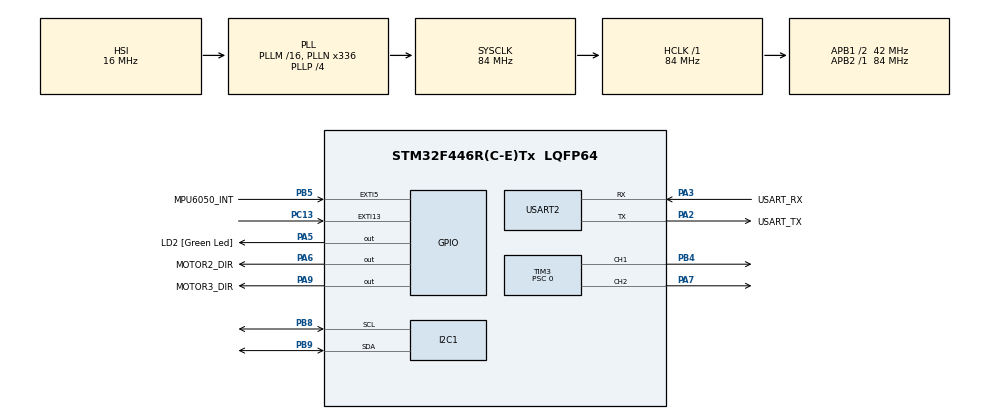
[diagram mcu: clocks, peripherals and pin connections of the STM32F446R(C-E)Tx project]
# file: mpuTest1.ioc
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FREERTOS.Queues01=mpu6050_values_queue,8,mpu6050_values_t,0,Dynamic,NULL,NULL;motor_value_queue,1,int32_t,0,Dynamic,NULL,NULL
FREERTOS.Tasks01=Task_ReadMPU605,24,512,task_read_mpu6050,Default,NULL,Dynamic,NULL,NULL;Task_CalcValues,24,512,task_calculate_motor_values,Default,NULL,Dynamic,NULL,NULL;Task_CtrlMotor,24,512,task_control_motors,Default,NULL,Dynamic,NULL,NULL
FREERTOS.configUSE_NEWLIB_REENTRANT=1
Mcu.Family=STM32F4
Mcu.Name=STM32F446R(C-E)Tx
Mcu.Package=LQFP64
NVIC.PriorityGroup=NVIC_PRIORITYGROUP_4
NVIC.TIM6_DAC_IRQn=true\:15\:0\:false\:false\:true\:false\:false\:true\:true
NVIC.TimeBase=TIM6_DAC_IRQn
NVIC.TimeBaseIP=TIM6
PA13.GPIO_Label=TMS
PA13.Mode=Serial_Wire
PA13.Signal=SYS_JTMS-SWDIO
PA14.GPIO_Label=TCK
PA14.Mode=Serial_Wire
PA14.Signal=SYS_JTCK-SWCLK
PA2.GPIO_Label=USART_TX
PA2.Mode=Asynchronous
PA2.Signal=USART2_TX
PA3.GPIO_Label=USART_RX
PA3.Mode=Asynchronous
PA3.Signal=USART2_RX
PA5.GPIO_Label=LD2 [Green Led]
PA5.Signal=GPIO_Output
PA6.GPIO_Label=MOTOR2_DIR
PA6.Signal=GPIO_Output
PA7.Signal=S_TIM3_CH2
PA9.GPIO_Label=MOTOR3_DIR
PA9.Signal=GPIO_Output
PB3.GPIO_Label=SWO
PB3.Signal=SYS_JTDO-SWO
PB4.Signal=S_TIM3_CH1
PB5.GPIO_Label=MPU6050_INT
PB5.GPIO_PuPd=GPIO_PULLDOWN
PB5.Signal=GPXTI5
PB8.GPIO_Pu=GPIO_PULLUP
PB8.Mode=I2C
PB8.Signal=I2C1_SCL
PB9.GPIO_Pu=GPIO_PULLUP
PB9.Mode=I2C
PB9.Signal=I2C1_SDA
PC13.Signal=GPXTI13
PC14-OSC32_IN.Mode=LSE-External-Oscillator
PC14-OSC32_IN.Signal=RCC_OSC32_IN
PC15-OSC32_OUT.Mode=LSE-External-Oscillator
PC15-OSC32_OUT.Signal=RCC_OSC32_OUT
PH0-OSC_IN.Mode=HSE-External-Oscillator
PH0-OSC_IN.Signal=RCC_OSC_IN
PH1-OSC_OUT.Mode=HSE-External-Oscillator
PH1-OSC_OUT.Signal=RCC_OSC_OUT
ProjectManager.HeapSize=0x200
ProjectManager.StackSize=0x400
ProjectManager.TargetToolchain=STM32CubeIDE
RCC.48MHZClocksFreq_Value=84000000
RCC.AHBFreq_Value=84000000
RCC.APB1CLKDivider=RCC_HCLK_DIV2
RCC.APB1Freq_Value=42000000
RCC.APB1TimFreq_Value=84000000
RCC.APB2Freq_Value=84000000
RCC.APB2TimFreq_Value=84000000
RCC.CortexFreq_Value=84000000
RCC.FLatency-AdvancedSettings=FLASH_LATENCY_2
RCC.HCLKFreq_Value=84000000
RCC.HSE_VALUE=8000000
RCC.HSI_VALUE=16000000
RCC.PLLN=336
RCC.PLLP=RCC_PLLP_DIV4
RCC.SYSCLKFreq_VALUE=84000000
RCC.SYSCLKSource=RCC_SYSCLKSOURCE_PLLCLK
RCC.USBFreq_Value=168000000
RCC.VCOOutputFreq_Value=336000000
SH.S_TIM3_CH1.0=TIM3_CH1,PWM Generation1 CH1
SH.S_TIM3_CH2.0=TIM3_CH2,PWM Generation2 CH2
TIM3.Channel-PWM\ Generation1\ CH1=TIM_CHANNEL_1
TIM3.Channel-PWM\ Generation2\ CH2=TIM_CHANNEL_2
TIM3.Period=8400-1
TIM3.Prescaler=0
USART2.VirtualMode=VM_ASYNC
VP_FREERTOS_VS_CMSIS_V2.Mode=CMSIS_V2
VP_SYS_VS_tim6.Mode=TIM6
board=NUCLEO-F446RE

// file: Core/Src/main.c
/* USER CODE BEGIN Header */
/**
  ******************************************************************************
  * @file           : main.c
  * @brief          : Main program body
  ******************************************************************************
  * @attention
  *
  * Copyright (c) 2024 STMicroelectronics.
  * All rights reserved.
  *
  * This software is licensed under terms that can be found in the LICENSE file
  * in the root directory of this software component.
  * If no LICENSE file comes with this software, it is provided AS-IS.
  *
  ******************************************************************************
  */
/* USER CODE END Header */
#include "main.h"
#include "cmsis_os.h"

/* USER CODE BEGIN Includes */
#include <string.h>
#include <stdio.h>
#include <stdlib.h>
#include <math.h>
#include "mpu6050.h"
#include "motorControl.h"
#include "myComfyPrint.h"
#include "ringbuffer.h"
/* USER CODE END Includes */

/* USER CODE BEGIN PD */
#define RAD_TO_DEG 180.0/M_PI
/* USER CODE END PD */

I2C_HandleTypeDef hi2c1;

TIM_HandleTypeDef htim3;

UART_HandleTypeDef huart2;

/* Definitions for Task_ReadMPU605 */
osThreadId_t Task_ReadMPU605Handle;
const osThreadAttr_t Task_ReadMPU605_attributes = {
  .name = "Task_ReadMPU605",
  .stack_size = 512 * 4,
  .priority = (osPriority_t) osPriorityNormal,
};
/* Definitions for Task_CalcValues */
osThreadId_t Task_CalcValuesHandle;
const osThreadAttr_t Task_CalcValues_attributes = {
  .name = "Task_CalcValues",
  .stack_size = 512 * 4,
  .priority = (osPriority_t) osPriorityNormal,
};
/* Definitions for Task_CtrlMotor */
osThreadId_t Task_CtrlMotorHandle;
const osThreadAttr_t Task_CtrlMotor_attributes = {
  .name = "Task_CtrlMotor",
  .stack_size = 512 * 4,
  .priority = (osPriority_t) osPriorityNormal,
};
/* Definitions for mpu6050_values_queue */
osMessageQueueId_t mpu6050_values_queueHandle;
const osMessageQueueAttr_t mpu6050_values_queue_attributes = {
  .name = "mpu6050_values_queue"
};
/* Definitions for motor_value_queue */
osMessageQueueId_t motor_value_queueHandle;
const osMessageQueueAttr_t motor_value_queue_attributes = {
  .name = "motor_value_queue"
};

void SystemClock_Config(void);
static void MX_GPIO_Init(void);
static void MX_USART2_UART_Init(void);
static void MX_I2C1_Init(void);
static void MX_TIM3_Init(void);
void task_read_mpu6050(void *argument);
void task_calculate_motor_values(void *argument);
void task_control_motors(void *argument);

/* USER CODE BEGIN 0 */
void task_calculate_motor_values(void* parameter);
void task_read_mpu6050(void* parameter);
void task_motor_control(void* parameter);
/* USER CODE END 0 */

int main(void)
{

  /* MCU Configuration--------------------------------------------------------*/

  /* Reset of all peripherals, Initializes the Flash interface and the Systick. */
  HAL_Init();

  /* Configure the system clock */
  SystemClock_Config();

  /* Initialize all configured peripherals */
  MX_GPIO_Init();
  MX_USART2_UART_Init();
  MX_I2C1_Init();
  MX_TIM3_Init();
  /* USER CODE BEGIN 2 */

  //initialize mpu6050
  HAL_Delay(1000);
  while(mpu6050_init() != 0){
	  HAL_Delay(1000);
	  //try until it worked
  }

  //initialize motors
  motor_init();

  //while loop to wait until robot is in upright position
  //calculate angle from acceleration values
  float acc_angle_temp=1;
  static uint8_t done_already = 0;
  char myString[256] = { 0 };
  mpu6050_values_t mpu_values;

  mpu6050_read(&mpu_values);

  if(done_already == 0){
	  while(acc_angle_temp != 0){
		  acc_angle_temp = atan2(mpu_values.acc_x, mpu_values.acc_z)*RAD_TO_DEG;	//*(180/M_PI) to convert from radian to degree
		  if(isnan(acc_angle_temp)){
			  sprintf((char*) myString, "acc_angle_temp is NaN\r\n");
			  myComfyPrint(myString);
		  }
		  else{
			  sprintf((char*) myString, "acc_angle_temp*100 = %d\r\n", (int) (acc_angle_temp*100));	//apparently floating numbers are disabled in print funcitons by defautl if using newlib
			  myComfyPrint(myString);
		  }

		  mpu6050_read(&mpu_values);
	  }
	  done_already = 1;
	  mpu6050_read(&mpu_values);
  }
  sprintf((char*) myString, "Acceleration X = %d\r\nAcceleration Y = %d\r\nAcceleration Z = %d\r\n", mpu_values.acc_x, mpu_values.acc_y, mpu_values.acc_z);
  myComfyPrint(myString);
  sprintf((char*) myString, "Gyroscope X = %d\r\nGyroscope Y = %d\r\nGyroscope Z = %d\r\n", mpu_values.gyro_x, mpu_values.gyro_y, mpu_values.gyro_z);
  myComfyPrint(myString);

  /* USER CODE END 2 */

  /* Init scheduler */
  osKernelInitialize();

  /* Create the queue(s) */
  /* creation of mpu6050_values_queue */
  mpu6050_values_queueHandle = osMessageQueueNew (8, sizeof(mpu6050_values_t), &mpu6050_values_queue_attributes);

  /* creation of motor_value_queue */
  motor_value_queueHandle = osMessageQueueNew (1, sizeof(int32_t), &motor_value_queue_attributes);

  /* Create the thread(s) */
  /* creation of Task_ReadMPU605 */
  Task_ReadMPU605Handle = osThreadNew(task_read_mpu6050, NULL, &Task_ReadMPU605_attributes);

  /* creation of Task_CalcValues */
  Task_CalcValuesHandle = osThreadNew(task_calculate_motor_values, NULL, &Task_CalcValues_attributes);

  /* creation of Task_CtrlMotor */
  Task_CtrlMotorHandle = osThreadNew(task_control_motors, NULL, &Task_CtrlMotor_attributes);

  /* Start scheduler */
  osKernelStart();

  /* We should never get here as control is now taken by the scheduler */

  /* Infinite loop */
  while (1)
  {

  }
}

void SystemClock_Config(void)
{
  RCC_OscInitTypeDef RCC_OscInitStruct = {0};
  RCC_ClkInitTypeDef RCC_ClkInitStruct = {0};

  /** Configure the main internal regulator output voltage
  */
  __HAL_RCC_PWR_CLK_ENABLE();
  __HAL_PWR_VOLTAGESCALING_CONFIG(PWR_REGULATOR_VOLTAGE_SCALE3);

  /** Initializes the RCC Oscillators according to the specified parameters
  * in the RCC_OscInitTypeDef structure.
  */
  RCC_OscInitStruct.OscillatorType = RCC_OSCILLATORTYPE_HSI;
  RCC_OscInitStruct.HSIState = RCC_HSI_ON;
  RCC_OscInitStruct.HSICalibrationValue = RCC_HSICALIBRATION_DEFAULT;
  RCC_OscInitStruct.PLL.PLLState = RCC_PLL_ON;
  RCC_OscInitStruct.PLL.PLLSource = RCC_PLLSOURCE_HSI;
  RCC_OscInitStruct.PLL.PLLM = 16;
  RCC_OscInitStruct.PLL.PLLN = 336;
  RCC_OscInitStruct.PLL.PLLP = RCC_PLLP_DIV4;
  RCC_OscInitStruct.PLL.PLLQ = 2;
  RCC_OscInitStruct.PLL.PLLR = 2;
  if (HAL_RCC_OscConfig(&RCC_OscInitStruct) != HAL_OK)
  {
    Error_Handler();
  }

  /** Initializes the CPU, AHB and APB buses clocks
  */
  RCC_ClkInitStruct.ClockType = RCC_CLOCKTYPE_HCLK|RCC_CLOCKTYPE_SYSCLK
                              |RCC_CLOCKTYPE_PCLK1|RCC_CLOCKTYPE_PCLK2;
  RCC_ClkInitStruct.SYSCLKSource = RCC_SYSCLKSOURCE_PLLCLK;
  RCC_ClkInitStruct.AHBCLKDivider = RCC_SYSCLK_DIV1;
  RCC_ClkInitStruct.APB1CLKDivider = RCC_HCLK_DIV2;
  RCC_ClkInitStruct.APB2CLKDivider = RCC_HCLK_DIV1;

  if (HAL_RCC_ClockConfig(&RCC_ClkInitStruct, FLASH_LATENCY_2) != HAL_OK)
  {
    Error_Handler();
  }
}

static void MX_I2C1_Init(void)
{

  hi2c1.Instance = I2C1;
  hi2c1.Init.ClockSpeed = 100000;
  hi2c1.Init.DutyCycle = I2C_DUTYCYCLE_2;
  hi2c1.Init.OwnAddress1 = 0;
  hi2c1.Init.AddressingMode = I2C_ADDRESSINGMODE_7BIT;
  hi2c1.Init.DualAddressMode = I2C_DUALADDRESS_DISABLE;
  hi2c1.Init.OwnAddress2 = 0;
  hi2c1.Init.GeneralCallMode = I2C_GENERALCALL_DISABLE;
  hi2c1.Init.NoStretchMode = I2C_NOSTRETCH_DISABLE;
  if (HAL_I2C_Init(&hi2c1) != HAL_OK)
  {
    Error_Handler();
  }

}

static void MX_TIM3_Init(void)
{

  TIM_MasterConfigTypeDef sMasterConfig = {0};
  TIM_OC_InitTypeDef sConfigOC = {0};

  htim3.Instance = TIM3;
  htim3.Init.Prescaler = 0;
  htim3.Init.CounterMode = TIM_COUNTERMODE_UP;
  htim3.Init.Period = 8400-1;
  htim3.Init.ClockDivision = TIM_CLOCKDIVISION_DIV1;
  htim3.Init.AutoReloadPreload = TIM_AUTORELOAD_PRELOAD_DISABLE;
  if (HAL_TIM_PWM_Init(&htim3) != HAL_OK)
  {
    Error_Handler();
  }
  sMasterConfig.MasterOutputTrigger = TIM_TRGO_RESET;
  sMasterConfig.MasterSlaveMode = TIM_MASTERSLAVEMODE_DISABLE;
  if (HAL_TIMEx_MasterConfigSynchronization(&htim3, &sMasterConfig) != HAL_OK)
  {
    Error_Handler();
  }
  sConfigOC.OCMode = TIM_OCMODE_PWM1;
  sConfigOC.Pulse = 0;
  sConfigOC.OCPolarity = TIM_OCPOLARITY_HIGH;
  sConfigOC.OCFastMode = TIM_OCFAST_DISABLE;
  if (HAL_TIM_PWM_ConfigChannel(&htim3, &sConfigOC, TIM_CHANNEL_1) != HAL_OK)
  {
    Error_Handler();
  }
  if (HAL_TIM_PWM_ConfigChannel(&htim3, &sConfigOC, TIM_CHANNEL_2) != HAL_OK)
  {
    Error_Handler();
  }
  HAL_TIM_MspPostInit(&htim3);

}

static void MX_USART2_UART_Init(void)
{

  huart2.Instance = USART2;
  huart2.Init.BaudRate = 115200;
  huart2.Init.WordLength = UART_WORDLENGTH_8B;
  huart2.Init.StopBits = UART_STOPBITS_1;
  huart2.Init.Parity = UART_PARITY_NONE;
  huart2.Init.Mode = UART_MODE_TX_RX;
  huart2.Init.HwFlowCtl = UART_HWCONTROL_NONE;
  huart2.Init.OverSampling = UART_OVERSAMPLING_16;
  if (HAL_UART_Init(&huart2) != HAL_OK)
  {
    Error_Handler();
  }

}

static void MX_GPIO_Init(void)
{
  GPIO_InitTypeDef GPIO_InitStruct = {0};

  /* GPIO Ports Clock Enable */
  __HAL_RCC_GPIOC_CLK_ENABLE();
  __HAL_RCC_GPIOH_CLK_ENABLE();
  __HAL_RCC_GPIOA_CLK_ENABLE();
  __HAL_RCC_GPIOB_CLK_ENABLE();

  /*Configure GPIO pin Output Level */
  HAL_GPIO_WritePin(GPIOA, LD2_Pin|MOTOR2_DIR_Pin|MOTOR3_DIR_Pin, GPIO_PIN_RESET);

  /*Configure GPIO pin : PC13 */
  GPIO_InitStruct.Pin = GPIO_PIN_13;
  GPIO_InitStruct.Mode = GPIO_MODE_IT_RISING;
  GPIO_InitStruct.Pull = GPIO_NOPULL;
  HAL_GPIO_Init(GPIOC, &GPIO_InitStruct);

  /*Configure GPIO pins : LD2_Pin MOTOR2_DIR_Pin MOTOR3_DIR_Pin */
  GPIO_InitStruct.Pin = LD2_Pin|MOTOR2_DIR_Pin|MOTOR3_DIR_Pin;
  GPIO_InitStruct.Mode = GPIO_MODE_OUTPUT_PP;
  GPIO_InitStruct.Pull = GPIO_NOPULL;
  GPIO_InitStruct.Speed = GPIO_SPEED_FREQ_LOW;
  HAL_GPIO_Init(GPIOA, &GPIO_InitStruct);

  /*Configure GPIO pin : MPU6050_INT_Pin */
  GPIO_InitStruct.Pin = MPU6050_INT_Pin;
  GPIO_InitStruct.Mode = GPIO_MODE_IT_RISING;
  GPIO_InitStruct.Pull = GPIO_PULLDOWN;
  HAL_GPIO_Init(MPU6050_INT_GPIO_Port, &GPIO_InitStruct);

}

/* USER CODE BEGIN 4 */
void HAL_GPIO_EXTI_Callback(uint16_t GPIO_Pin)
{
  if(GPIO_Pin == MPU6050_INT_Pin){
	  //do stuff when mpu6050 says data is ready for reading
  }
}
/* USER CODE END 4 */

void task_read_mpu6050(void *argument)
{
  /* USER CODE BEGIN 5 */

	uint8_t read_mpu_buff[6] = { 0 };
	mpu6050_values_t mpu_values_temp;

	for(;;)
	{

		//make sure there is room in queue
		while(osMessageQueueGetSpace(mpu6050_values_queueHandle) == 0){
			//busy waiting
		}

		//read accelerometer data
		HAL_I2C_Mem_Read(&hi2c1, (DEVICE_ADDRESS<<1) +1, REG_ACC_DATA, 1, read_mpu_buff, sizeof(read_mpu_buff), 100);
		mpu_values_temp.acc_x = (int16_t) (read_mpu_buff[0]<<8) + read_mpu_buff[1];
		mpu_values_temp.acc_y = (int16_t) (read_mpu_buff[2]<<8) + read_mpu_buff[3];
		mpu_values_temp.acc_z = (int16_t) (read_mpu_buff[4]<<8) + read_mpu_buff[5];

		//read gyroscope data
		HAL_I2C_Mem_Read(&hi2c1, (DEVICE_ADDRESS<<1) +1, REG_GYRO_DATA, 1, read_mpu_buff, sizeof(read_mpu_buff), 100);
		mpu_values_temp.gyro_x = (int16_t) (read_mpu_buff[0]<<8) + read_mpu_buff[1];
		mpu_values_temp.gyro_y = (int16_t) (read_mpu_buff[2]<<8) + read_mpu_buff[3];
		mpu_values_temp.gyro_z = (int16_t) (read_mpu_buff[4]<<8) + read_mpu_buff[5];

		//apply offsets
		mpu_values_temp.gyro_y += GYRO_Y_OFFSET_1000;

		//send values to queue
		osMessageQueuePut(mpu6050_values_queueHandle, &mpu_values_temp, 0, osWaitForever);

	  }

  /* USER CODE END 5 */
}

void task_calculate_motor_values(void *argument)
{
  /* USER CODE BEGIN task_calculate_motor_values */

	  float acc_angle;
	  float gyro_rate, gyro_angle;
	  uint32_t current_time=(osKernelGetTickCount()*1000 / osKernelGetTickFreq()), last_time = current_time;
	  float current_angle=0, last_angle=0;
	  float alpha = 0.9934;
	  float target_angle=0;
	  float deviation, deviation_sum=0;
	  float Kp=12, Ki=0, Kd=0;
	  float motor_value_in_percent;
	  int32_t motor_value;
	  mpu6050_values_t mpu6050_temp_values;
	  mpu6050_values_t mpu_values;

	  //makeshift ringbuffer
	  mpu6050_values_t mpu_arr[8] = { 0 };
	  const uint8_t mpu_arr_size = sizeof(mpu_arr)/sizeof(mpu6050_values_t);
	  uint8_t mpu_arr_counter = 0;

  /* Infinite loop */
  for(;;)
  {

	  //wait for there to be values in the queue
	  while(osMessageQueueGetCount(mpu6050_values_queueHandle) == 0){
		  //busy waiting
	  }

	  //read values from queue into makeshift ringbuffer
	  for(int i=0; i<osMessageQueueGetCount(mpu6050_values_queueHandle); i++){
		  osMessageQueueGet(mpu6050_values_queueHandle, &mpu_arr[mpu_arr_counter], NULL, osWaitForever);
		  mpu_arr_counter = (mpu_arr_counter+1) % mpu_arr_size;
	  }

	  //calculate average mpu value
	  int32_t acc_x=0, acc_y=0, acc_z=0, gyro_x=0, gyro_y=0, gyro_z=0;	//temporary storage, because saving it directly in mpu_values.xy coudld make it overflow, bc it is int16_t
	  for(int i=0; i<mpu_arr_size; i++){
		  acc_x += (int32_t) mpu_arr[i].acc_x;
		  acc_y += (int32_t) mpu_arr[i].acc_y;
		  acc_z += (int32_t) mpu_arr[i].acc_z;
		  gyro_x += (int32_t) mpu_arr[i].gyro_x;
		  gyro_y += (int32_t) mpu_arr[i].gyro_y;
		  gyro_z += (int32_t) mpu_arr[i].gyro_z;
	  }
	  mpu_values.acc_x = (int16_t) (acc_x / mpu_arr_size);
	  mpu_values.acc_y = (int16_t) (acc_y / mpu_arr_size);
	  mpu_values.acc_z = (int16_t) (acc_z / mpu_arr_size);
	  mpu_values.gyro_x = (int16_t) (gyro_x / mpu_arr_size);
	  mpu_values.gyro_y = (int16_t) (gyro_y / mpu_arr_size);
	  mpu_values.gyro_z = (int16_t) (gyro_z / mpu_arr_size);

	  {char temp_string[32] = {0};
	  sprintf(temp_string, "mpu_values.acc_x = %d\r\n", mpu_values.acc_x);
	  myComfyPrint(temp_string);}

	  //calculate angle from acceleration values
	  acc_angle = atan2(mpu_values.acc_x, mpu_values.acc_z)*RAD_TO_DEG;	//*(180/M_PI) to convert from radian to degree

	  //calculate angle from gyroscope
	  gyro_rate = mpu_values.gyro_y * (1000.0/INT16_MAX);	//500, because that is the range that the mpu6050 is set to currently
	  last_time = current_time;
	  current_time = ((osKernelGetTickCount()*1000) / osKernelGetTickFreq());
	  gyro_angle = gyro_angle + gyro_rate*((float)(current_time-last_time)/1000.0);

	  //combine both values into one
	  last_angle = current_angle;
	  current_angle = alpha * (gyro_angle) + (float) (1-alpha) * acc_angle;

	  //PID
	  deviation = current_angle - target_angle;
	  deviation_sum = deviation_sum + deviation;
	  //add constraining of max value of deviation_sum here

	  motor_value_in_percent = Kp*deviation + Ki*deviation_sum*((float)(current_time-last_time)/1000) - Kd*(current_angle-last_angle)/((float)(current_time-last_time)/1000);
	  motor_value = (motor_value_in_percent * MOTOR_MAX_SPEED) /100;

	  //if there is already a message in the queue, remove it
	  if(osMessageQueueGetSpace(motor_value_queueHandle) < 1){
		  int16_t temp;
		  osMessageQueueGet(motor_value_queueHandle, &temp, NULL, osWaitForever);
	  }
	  //send motor value to queue
	  osMessageQueuePut(motor_value_queueHandle, &motor_value, 0, osWaitForever);

  }
  /* USER CODE END task_calculate_motor_values */
}

void task_control_motors(void *argument)
{
  /* USER CODE BEGIN task_control_motors */

	int32_t motor_value;

  /* Infinite loop */
  for(;;)
  {

	  //wait for a value
	  while(osMessageQueueGetCount(motor_value_queueHandle) == 0){
		  //busy waiting
	  }

	  //get motor value
	  osMessageQueueGet(motor_value_queueHandle, &motor_value, NULL, osWaitForever);

	  if(motor_value >= 0){
		  motor_control(MOTOR_DIR_FORWARDS, (uint16_t) abs(motor_value));
	  }
	  else if(motor_value < 0){
		  motor_control(MOTOR_DIR_BACKWARDS, (uint16_t) abs(motor_value));
	  }

  }
  /* USER CODE END task_control_motors */
}

void HAL_TIM_PeriodElapsedCallback(TIM_HandleTypeDef *htim)
{
  if (htim->Instance == TIM6) {
    HAL_IncTick();
  }
}

void Error_Handler(void)
{
  __disable_irq();
  while (1)
  {
  }
}
